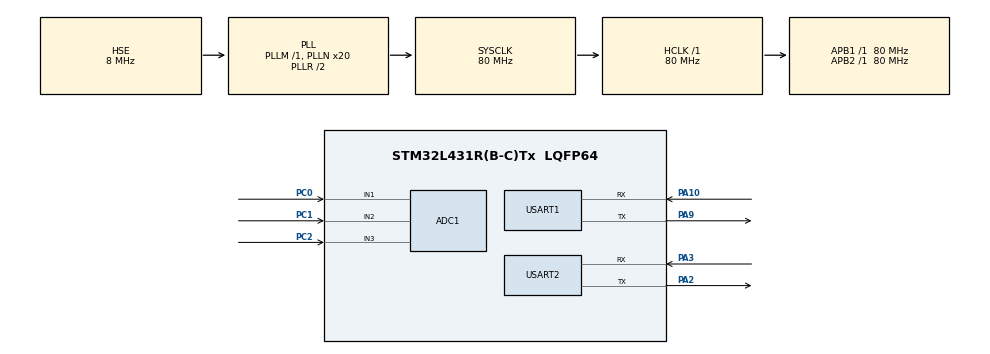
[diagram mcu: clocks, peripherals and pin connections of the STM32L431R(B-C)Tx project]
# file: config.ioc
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ADC1.Channel-0\#ChannelRegularConversion=ADC_CHANNEL_VREFINT
ADC1.NbrOfConversionFlag=1
ADC1.OffsetNumber-0\#ChannelRegularConversion=ADC_OFFSET_NONE
ADC1.Rank-0\#ChannelRegularConversion=1
ADC1.SamplingTime-0\#ChannelRegularConversion=ADC_SAMPLETIME_2CYCLES_5
ADC1.master=1
Mcu.Family=STM32L4
Mcu.Name=STM32L431R(B-C)Tx
Mcu.Package=LQFP64
NVIC.PriorityGroup=NVIC_PRIORITYGROUP_4
NVIC.RTC_Alarm_IRQn=true\:0\:0\:false\:false\:true\:true\:true
PA10.Mode=Asynchronous
PA10.Signal=USART1_RX
PA13\ (JTMS-SWDIO).Mode=Serial_Wire
PA13\ (JTMS-SWDIO).Signal=SYS_JTMS-SWDIO
PA14\ (JTCK-SWCLK).Mode=Serial_Wire
PA14\ (JTCK-SWCLK).Signal=SYS_JTCK-SWCLK
PA2.Mode=Asynchronous
PA2.Signal=USART2_TX
PA3.Mode=Asynchronous
PA3.Signal=USART2_RX
PA9.Mode=Asynchronous
PA9.Signal=USART1_TX
PC0.Signal=ADCx_IN1
PC1.Signal=ADCx_IN2
PC14-OSC32_IN\ (PC14).Mode=LSE-External-Oscillator
PC14-OSC32_IN\ (PC14).Signal=RCC_OSC32_IN
PC15-OSC32_OUT\ (PC15).Mode=LSE-External-Oscillator
PC15-OSC32_OUT\ (PC15).Signal=RCC_OSC32_OUT
PC2.Signal=ADCx_IN3
PH0-OSC_IN\ (PH0).Mode=HSE-External-Oscillator
PH0-OSC_IN\ (PH0).Signal=RCC_OSC_IN
PH1-OSC_OUT\ (PH1).Mode=HSE-External-Oscillator
PH1-OSC_OUT\ (PH1).Signal=RCC_OSC_OUT
ProjectManager.HeapSize=0x200
ProjectManager.StackSize=0x400
ProjectManager.TargetToolchain=MDK-ARM V5.27
RCC.ADCFreq_Value=32000000
RCC.AHBFreq_Value=80000000
RCC.APB1Freq_Value=80000000
RCC.APB1TimFreq_Value=80000000
RCC.APB2Freq_Value=80000000
RCC.APB2TimFreq_Value=80000000
RCC.CortexFreq_Value=80000000
RCC.EnbaleCSS=true
RCC.HCLKFreq_Value=80000000
RCC.HSE_VALUE=8000000
RCC.HSI48_VALUE=48000000
RCC.HSI_VALUE=16000000
RCC.MSI_VALUE=4000000
RCC.PLLN=20
RCC.PLLSourceVirtual=RCC_PLLSOURCE_HSE
RCC.RTCClockSelection=RCC_RTCCLKSOURCE_LSE
RCC.SYSCLKFreq_VALUE=80000000
RCC.SYSCLKSource=RCC_SYSCLKSOURCE_PLLCLK
RCC.VCOOutputFreq_Value=160000000
RTC.Alarm-Alarm\ A=RTC_ALARM_A
RTC.AlarmDateWeekDay-Alarm\ A=1
RTC.Date=29
RTC.HourFormat=RTC_HOURFORMAT_24
RTC.Hours=1
RTC.Minutes=35
RTC.Month=RTC_MONTH_JULY
RTC.WeekDay=RTC_WEEKDAY_THURSDAY
RTC.Year=21
SH.ADCx_IN1.0=ADC1_IN1,IN1-Single-Ended
SH.ADCx_IN2.0=ADC1_IN2,IN2-Single-Ended
SH.ADCx_IN3.0=ADC1_IN3,IN3-Single-Ended
USART1.VirtualMode-Asynchronous=VM_ASYNC
USART2.VirtualMode-Asynchronous=VM_ASYNC
VP_ADC1_TempSens_Input.Mode=IN-TempSens
VP_ADC1_Vbat_Input.Mode=IN-Vbat
VP_ADC1_Vref_Input.Mode=IN-Vrefint
VP_RNG_VS_RNG.Mode=RNG_Activate
VP_RTC_VS_RTC_Activate.Mode=RTC_Enabled
VP_RTC_VS_RTC_Alarm_A_Intern.Mode=Alarm A
VP_RTC_VS_RTC_Calendar.Mode=RTC_Calendar
board=custom

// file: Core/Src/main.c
/* USER CODE BEGIN Header */
/**
  ******************************************************************************
  * @file           : main.c
  * @brief          : Main program body
  ******************************************************************************
  * @attention
  *
  * <h2><center>&copy; Copyright (c) 2021 STMicroelectronics.
  * All rights reserved.</center></h2>
  *
  * This software component is licensed by ST under BSD 3-Clause license,
  * the "License"; You may not use this file except in compliance with the
  * License. You may obtain a copy of the License at:
  *                        opensource.org/licenses/BSD-3-Clause
  *
  ******************************************************************************
  */
/* USER CODE END Header */
#include "main.h"
#include "adc.h"
#include "rng.h"
#include "rtc.h"
#include "usart.h"
#include "gpio.h"

/* USER CODE BEGIN Includes */
#include "bsp_uart_fifo.h"
/* USER CODE END Includes */

void SystemClock_Config(void);

int main(void)
{
  /* USER CODE BEGIN 1 */
  uint8_t read;
  const char buf1[] = "接收到串口命令1\r\n";
  const char buf2[] = "接收到串口命令2\r\n";
  const char buf3[] = "接收到串口命令3\r\n";
  const char buf4[] = "接收到串口命令4\r\n";
    RTC_TimeTypeDef RTC_TimeStruct;
    RTC_DateTypeDef RTC_DateStruct;
  /* USER CODE END 1 */

  /* MCU Configuration--------------------------------------------------------*/

  /* Reset of all peripherals, Initializes the Flash interface and the Systick. */
  HAL_Init();

  /* Configure the system clock */
  SystemClock_Config();

  /* Initialize all configured peripherals */
  MX_GPIO_Init();
  MX_USART1_UART_Init();
  MX_USART2_UART_Init();
  MX_ADC1_Init();
  MX_RTC_Init();
  MX_RNG_Init();
  /* USER CODE BEGIN 2 */
  bsp_InitUart();
  /* USER CODE END 2 */

  /* Infinite loop */
  while (1)
  {

    /* USER CODE BEGIN 3 */
      HAL_RTC_GetTime(&hrtc, &RTC_TimeStruct, RTC_FORMAT_BIN);
      HAL_RTC_GetDate(&hrtc, &RTC_DateStruct, RTC_FORMAT_BIN);

     printf("%d %d  %d ", RTC_TimeStruct.Hours, RTC_TimeStruct.Minutes, RTC_TimeStruct.Seconds);
     printf("20%02d - %d - %d \r\n", RTC_DateStruct.Year, RTC_DateStruct.Month, RTC_DateStruct.Date);
    if (comGetChar(COM1, &read))
    {
      switch (read)
      {
      case '1':
        comSendBuf(COM1, (uint8_t *)buf1, strlen(buf1));
        break;

      case '2':
        comSendBuf(COM1, (uint8_t *)buf2, strlen(buf2));
        break;

      case '3':
        comSendBuf(COM1, (uint8_t *)buf3, strlen(buf3));
        break;

      case '4':
        comSendBuf(COM1, (uint8_t *)buf4, strlen(buf4));
        break;

      default:
        break;
      }
    }

    HAL_Delay(500);
  }
  /* USER CODE END 3 */
}

void SystemClock_Config(void)
{
  RCC_OscInitTypeDef RCC_OscInitStruct = {0};
  RCC_ClkInitTypeDef RCC_ClkInitStruct = {0};
  RCC_PeriphCLKInitTypeDef PeriphClkInit = {0};

  /** Configure LSE Drive Capability
  */
  HAL_PWR_EnableBkUpAccess();
  __HAL_RCC_LSEDRIVE_CONFIG(RCC_LSEDRIVE_LOW);
  /** Initializes the RCC Oscillators according to the specified parameters
  * in the RCC_OscInitTypeDef structure.
  */
  RCC_OscInitStruct.OscillatorType = RCC_OSCILLATORTYPE_HSE|RCC_OSCILLATORTYPE_LSE;
  RCC_OscInitStruct.HSEState = RCC_HSE_ON;
  RCC_OscInitStruct.LSEState = RCC_LSE_ON;
  RCC_OscInitStruct.PLL.PLLState = RCC_PLL_ON;
  RCC_OscInitStruct.PLL.PLLSource = RCC_PLLSOURCE_HSE;
  RCC_OscInitStruct.PLL.PLLM = 1;
  RCC_OscInitStruct.PLL.PLLN = 20;
  RCC_OscInitStruct.PLL.PLLP = RCC_PLLP_DIV7;
  RCC_OscInitStruct.PLL.PLLQ = RCC_PLLQ_DIV2;
  RCC_OscInitStruct.PLL.PLLR = RCC_PLLR_DIV2;
  if (HAL_RCC_OscConfig(&RCC_OscInitStruct) != HAL_OK)
  {
    Error_Handler();
  }
  /** Initializes the CPU, AHB and APB buses clocks
  */
  RCC_ClkInitStruct.ClockType = RCC_CLOCKTYPE_HCLK|RCC_CLOCKTYPE_SYSCLK
                              |RCC_CLOCKTYPE_PCLK1|RCC_CLOCKTYPE_PCLK2;
  RCC_ClkInitStruct.SYSCLKSource = RCC_SYSCLKSOURCE_PLLCLK;
  RCC_ClkInitStruct.AHBCLKDivider = RCC_SYSCLK_DIV1;
  RCC_ClkInitStruct.APB1CLKDivider = RCC_HCLK_DIV1;
  RCC_ClkInitStruct.APB2CLKDivider = RCC_HCLK_DIV1;

  if (HAL_RCC_ClockConfig(&RCC_ClkInitStruct, FLASH_LATENCY_4) != HAL_OK)
  {
    Error_Handler();
  }
  PeriphClkInit.PeriphClockSelection = RCC_PERIPHCLK_RTC|RCC_PERIPHCLK_USART1
                              |RCC_PERIPHCLK_USART2|RCC_PERIPHCLK_RNG
                              |RCC_PERIPHCLK_ADC;
  PeriphClkInit.Usart1ClockSelection = RCC_USART1CLKSOURCE_PCLK2;
  PeriphClkInit.Usart2ClockSelection = RCC_USART2CLKSOURCE_PCLK1;
  PeriphClkInit.AdcClockSelection = RCC_ADCCLKSOURCE_PLLSAI1;
  PeriphClkInit.RTCClockSelection = RCC_RTCCLKSOURCE_LSE;
  PeriphClkInit.RngClockSelection = RCC_RNGCLKSOURCE_PLLSAI1;
  PeriphClkInit.PLLSAI1.PLLSAI1Source = RCC_PLLSOURCE_HSE;
  PeriphClkInit.PLLSAI1.PLLSAI1M = 1;
  PeriphClkInit.PLLSAI1.PLLSAI1N = 8;
  PeriphClkInit.PLLSAI1.PLLSAI1P = RCC_PLLP_DIV7;
  PeriphClkInit.PLLSAI1.PLLSAI1Q = RCC_PLLQ_DIV2;
  PeriphClkInit.PLLSAI1.PLLSAI1R = RCC_PLLR_DIV2;
  PeriphClkInit.PLLSAI1.PLLSAI1ClockOut = RCC_PLLSAI1_48M2CLK|RCC_PLLSAI1_ADC1CLK;
  if (HAL_RCCEx_PeriphCLKConfig(&PeriphClkInit) != HAL_OK)
  {
    Error_Handler();
  }
  /** Enables the Clock Security System
  */
  HAL_RCC_EnableCSS();
  /** Configure the main internal regulator output voltage
  */
  if (HAL_PWREx_ControlVoltageScaling(PWR_REGULATOR_VOLTAGE_SCALE1) != HAL_OK)
  {
    Error_Handler();
  }
}

void Error_Handler(void)
{
  __disable_irq();
  while (1)
  {
  }
}

/************************ (C) COPYRIGHT STMicroelectronics *****END OF FILE****/
